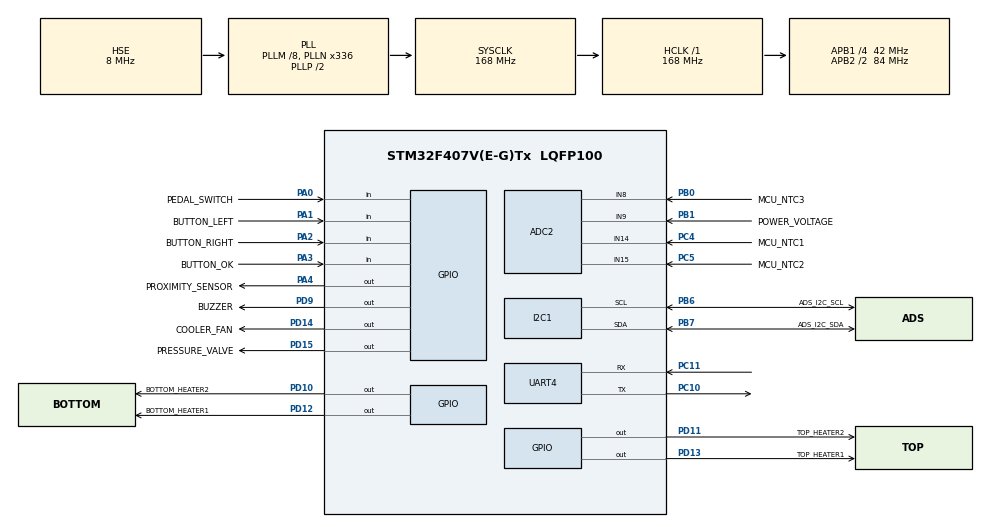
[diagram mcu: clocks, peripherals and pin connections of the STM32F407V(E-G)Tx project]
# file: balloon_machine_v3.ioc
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ADC2.Channel-0\#ChannelRegularConversion=ADC_CHANNEL_14
ADC2.NbrOfConversionFlag=1
ADC2.Rank-0\#ChannelRegularConversion=1
ADC2.SamplingTime-0\#ChannelRegularConversion=ADC_SAMPLETIME_3CYCLES
FREERTOS.BinarySemaphores01=uartSemaphore,Dynamic,NULL,Available
FREERTOS.Mutexes01=configMutex,Dynamic,NULL,Available;stateMutex,Dynamic,NULL,Available
FREERTOS.Tasks01=defaultTask,32,1024,StartDefaultTask,Default,NULL,Dynamic,NULL,NULL;logTask,24,1024,StartLog,As external,NULL,Dynamic,NULL,NULL;sensorTask,26,1024,StartSensor,As external,NULL,Dynamic,NULL,NULL;heaterTask,25,512,StartHeater,As external,NULL,Dynamic,NULL,NULL
FREERTOS.configUSE_NEWLIB_REENTRANT=1
Mcu.Family=STM32F4
Mcu.Name=STM32F407V(E-G)Tx
Mcu.Package=LQFP100
NVIC.PriorityGroup=NVIC_PRIORITYGROUP_4
NVIC.RCC_IRQn=true\:5\:0\:false\:false\:true\:true\:true\:false\:true
NVIC.TIM1_UP_TIM10_IRQn=true\:15\:0\:false\:false\:true\:false\:false\:true\:true
NVIC.TimeBase=TIM1_UP_TIM10_IRQn
NVIC.TimeBaseIP=TIM1
NVIC.UART4_IRQn=true\:5\:0\:false\:false\:true\:true\:true\:true\:true
PA0-WKUP.GPIO_Label=PEDAL_SWITCH
PA0-WKUP.Signal=GPIO_Input
PA1.GPIO_Label=BUTTON_LEFT
PA1.Signal=GPIO_Input
PA13.Mode=Trace_Asynchronous_SW
PA13.Signal=SYS_JTMS-SWDIO
PA14.Mode=Trace_Asynchronous_SW
PA14.Signal=SYS_JTCK-SWCLK
PA2.GPIO_Label=BUTTON_RIGHT
PA2.Signal=GPIO_Input
PA3.GPIO_Label=BUTTON_OK
PA3.Signal=GPIO_Input
PA4.GPIO_Label=PROXIMITY_SENSOR
PA4.GPIO_ModeDefaultOutputPP=GPIO_MODE_OUTPUT_PP
PA4.GPIO_PuPd=GPIO_PULLDOWN
PA4.Signal=GPIO_Output
PB0.GPIO_Label=MCU_NTC3
PB0.Signal=ADCx_IN8
PB1.GPIO_Label=POWER_VOLTAGE
PB1.Signal=ADCx_IN9
PB3.Mode=Trace_Asynchronous_SW
PB3.Signal=SYS_JTDO-SWO
PB6.GPIO_Label=ADS_I2C_SCL
PB6.Mode=I2C
PB6.Signal=I2C1_SCL
PB7.GPIO_Label=ADS_I2C_SDA
PB7.Mode=I2C
PB7.Signal=I2C1_SDA
PC10.Mode=Asynchronous
PC10.Signal=UART4_TX
PC11.Mode=Asynchronous
PC11.Signal=UART4_RX
PC4.GPIO_Label=MCU_NTC1
PC4.Signal=ADCx_IN14
PC5.GPIO_Label=MCU_NTC2
PC5.Signal=ADCx_IN15
PD10.GPIO_Label=BOTTOM_HEATER2
PD10.Signal=GPIO_Output
PD11.GPIO_Label=TOP_HEATER2
PD11.Signal=GPIO_Output
PD12.GPIO_Label=BOTTOM_HEATER1
PD12.Signal=GPIO_Output
PD13.GPIO_Label=TOP_HEATER1
PD13.Signal=GPIO_Output
PD14.GPIO_Label=COOLER_FAN
PD14.Signal=GPIO_Output
PD15.GPIO_Label=PRESSURE_VALVE
PD15.Signal=GPIO_Output
PD9.GPIO_Label=BUZZER
PD9.Signal=GPIO_Output
PH0-OSC_IN.Mode=HSE-External-Oscillator
PH0-OSC_IN.Signal=RCC_OSC_IN
PH1-OSC_OUT.Mode=HSE-External-Oscillator
PH1-OSC_OUT.Signal=RCC_OSC_OUT
ProjectManager.HeapSize=0x200
ProjectManager.StackSize=0x400
ProjectManager.TargetToolchain=STM32CubeIDE
RCC.48MHZClocksFreq_Value=48000000
RCC.AHBFreq_Value=168000000
RCC.APB1CLKDivider=RCC_HCLK_DIV4
RCC.APB1Freq_Value=42000000
RCC.APB1TimFreq_Value=84000000
RCC.APB2CLKDivider=RCC_HCLK_DIV2
RCC.APB2Freq_Value=84000000
RCC.APB2TimFreq_Value=168000000
RCC.CortexFreq_Value=168000000
RCC.EnbaleCSS=true
RCC.HCLKFreq_Value=168000000
RCC.HSE_VALUE=8000000
RCC.HSI_VALUE=16000000
RCC.LSE_VALUE=32768
RCC.PLLM=8
RCC.PLLN=336
RCC.PLLQ=7
RCC.PLLSourceVirtual=RCC_PLLSOURCE_HSE
RCC.SYSCLKFreq_VALUE=168000000
RCC.SYSCLKSource=RCC_SYSCLKSOURCE_PLLCLK
RCC.VCOOutputFreq_Value=336000000
SH.ADCx_IN14.0=ADC2_IN14,IN14
SH.ADCx_IN15.0=ADC2_IN15,IN15
SH.ADCx_IN8.0=ADC2_IN8,IN8
SH.ADCx_IN9.0=ADC2_IN9,IN9
UART4.VirtualMode=Asynchronous
VP_FREERTOS_VS_CMSIS_V2.Mode=CMSIS_V2
VP_SYS_VS_tim1.Mode=TIM1
board=custom

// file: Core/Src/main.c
/* USER CODE BEGIN Header */
/**
  ******************************************************************************
  * @file           : main.c
  * @brief          : Main program body
  ******************************************************************************
  * @attention
  *
  * Copyright (c) 2025 STMicroelectronics.
  * All rights reserved.
  *
  * This software is licensed under terms that can be found in the LICENSE file
  * in the root directory of this software component.
  * If no LICENSE file comes with this software, it is provided AS-IS.
  *
  ******************************************************************************
  */
/* USER CODE END Header */
#include "main.h"
#include "cmsis_os.h"

/* USER CODE BEGIN Includes */
#include "system.h"
#include "utils.h"
#include "partition.h"
/* USER CODE END Includes */

/* USER CODE BEGIN PM */
// uint16_t VarDataTab[NB_OF_VAR] = {0, 0, 0};
// uint16_t VarValue,VarDataTmp = 0;
/* USER CODE END PM */

ADC_HandleTypeDef hadc2;

I2C_HandleTypeDef hi2c1;

UART_HandleTypeDef huart4;

/* Definitions for defaultTask */
osThreadId_t defaultTaskHandle;
const osThreadAttr_t defaultTask_attributes = {
  .name = "defaultTask",
  .stack_size = 1024 * 4,
  .priority = (osPriority_t) osPriorityAboveNormal,
};
/* Definitions for logTask */
osThreadId_t logTaskHandle;
const osThreadAttr_t logTask_attributes = {
  .name = "logTask",
  .stack_size = 1024 * 4,
  .priority = (osPriority_t) osPriorityNormal,
};
/* Definitions for sensorTask */
osThreadId_t sensorTaskHandle;
const osThreadAttr_t sensorTask_attributes = {
  .name = "sensorTask",
  .stack_size = 1024 * 4,
  .priority = (osPriority_t) osPriorityNormal2,
};
/* Definitions for heaterTask */
osThreadId_t heaterTaskHandle;
const osThreadAttr_t heaterTask_attributes = {
  .name = "heaterTask",
  .stack_size = 512 * 4,
  .priority = (osPriority_t) osPriorityNormal1,
};
/* Definitions for configMutex */
osMutexId_t configMutexHandle;
const osMutexAttr_t configMutex_attributes = {
  .name = "configMutex"
};
/* Definitions for stateMutex */
osMutexId_t stateMutexHandle;
const osMutexAttr_t stateMutex_attributes = {
  .name = "stateMutex"
};
/* Definitions for uartSemaphore */
osSemaphoreId_t uartSemaphoreHandle;
const osSemaphoreAttr_t uartSemaphore_attributes = {
  .name = "uartSemaphore"
};

void SystemClock_Config(void);
static void MX_GPIO_Init(void);
static void MX_ADC2_Init(void);
static void MX_I2C1_Init(void);
static void MX_UART4_Init(void);
void StartDefaultTask(void *argument);
extern void StartLog(void *argument);
extern void StartSensor(void *argument);
extern void StartHeater(void *argument);

int main(void)
{

  /* MCU Configuration--------------------------------------------------------*/

  /* Reset of all peripherals, Initializes the Flash interface and the Systick. */
  HAL_Init();

  /* USER CODE BEGIN Init */

  // Initialize partition system early
  Partition_Init();

  // Check if we should boot to a different partition
  // This is useful when running from bootloader region initially
  // Note: Boot_CheckAndJumpToPartition() won't return if it jumps to another partition
  extern uint8_t Boot_CheckAndJumpToPartition(void);
  Boot_CheckAndJumpToPartition();

  /* USER CODE END Init */

  /* Configure the system clock */
  SystemClock_Config();

  /* Initialize all configured peripherals */
  MX_GPIO_Init();
  MX_ADC2_Init();
  MX_I2C1_Init();
  MX_UART4_Init();

  /* Init scheduler */
  osKernelInitialize();
  /* Create the mutex(es) */
  /* creation of configMutex */
  configMutexHandle = osMutexNew(&configMutex_attributes);

  /* creation of stateMutex */
  stateMutexHandle = osMutexNew(&stateMutex_attributes);

  /* Create the semaphores(s) */
  /* creation of uartSemaphore */
  uartSemaphoreHandle = osSemaphoreNew(1, 1, &uartSemaphore_attributes);

  /* Create the thread(s) */
  /* creation of defaultTask */
  defaultTaskHandle = osThreadNew(StartDefaultTask, NULL, &defaultTask_attributes);

  /* creation of logTask */
  logTaskHandle = osThreadNew(StartLog, NULL, &logTask_attributes);

  /* creation of sensorTask */
  sensorTaskHandle = osThreadNew(StartSensor, NULL, &sensorTask_attributes);

  /* creation of heaterTask */
  heaterTaskHandle = osThreadNew(StartHeater, NULL, &heaterTask_attributes);

  /* Start scheduler */
  osKernelStart();

  /* We should never get here as control is now taken by the scheduler */

  /* Infinite loop */
  while (1)
  {

  }
}

void SystemClock_Config(void)
{
  RCC_OscInitTypeDef RCC_OscInitStruct = {0};
  RCC_ClkInitTypeDef RCC_ClkInitStruct = {0};

  /** Configure the main internal regulator output voltage
  */
  __HAL_RCC_PWR_CLK_ENABLE();
  __HAL_PWR_VOLTAGESCALING_CONFIG(PWR_REGULATOR_VOLTAGE_SCALE1);

  /** Initializes the RCC Oscillators according to the specified parameters
  * in the RCC_OscInitTypeDef structure.
  */
  RCC_OscInitStruct.OscillatorType = RCC_OSCILLATORTYPE_HSE;
  RCC_OscInitStruct.HSEState = RCC_HSE_ON;
  RCC_OscInitStruct.PLL.PLLState = RCC_PLL_ON;
  RCC_OscInitStruct.PLL.PLLSource = RCC_PLLSOURCE_HSE;
  RCC_OscInitStruct.PLL.PLLM = 8;
  RCC_OscInitStruct.PLL.PLLN = 336;
  RCC_OscInitStruct.PLL.PLLP = RCC_PLLP_DIV2;
  RCC_OscInitStruct.PLL.PLLQ = 7;
  if (HAL_RCC_OscConfig(&RCC_OscInitStruct) != HAL_OK)
  {
    Error_Handler();
  }

  /** Initializes the CPU, AHB and APB buses clocks
  */
  RCC_ClkInitStruct.ClockType = RCC_CLOCKTYPE_HCLK|RCC_CLOCKTYPE_SYSCLK
                              |RCC_CLOCKTYPE_PCLK1|RCC_CLOCKTYPE_PCLK2;
  RCC_ClkInitStruct.SYSCLKSource = RCC_SYSCLKSOURCE_PLLCLK;
  RCC_ClkInitStruct.AHBCLKDivider = RCC_SYSCLK_DIV1;
  RCC_ClkInitStruct.APB1CLKDivider = RCC_HCLK_DIV4;
  RCC_ClkInitStruct.APB2CLKDivider = RCC_HCLK_DIV2;

  if (HAL_RCC_ClockConfig(&RCC_ClkInitStruct, FLASH_LATENCY_5) != HAL_OK)
  {
    Error_Handler();
  }

  /** Enables the Clock Security System
  */
  HAL_RCC_EnableCSS();
}

static void MX_ADC2_Init(void)
{

  ADC_ChannelConfTypeDef sConfig = {0};

  /** Configure the global features of the ADC (Clock, Resolution, Data Alignment and number of conversion)
  */
  hadc2.Instance = ADC2;
  hadc2.Init.ClockPrescaler = ADC_CLOCK_SYNC_PCLK_DIV4;
  hadc2.Init.Resolution = ADC_RESOLUTION_12B;
  hadc2.Init.ScanConvMode = DISABLE;
  hadc2.Init.ContinuousConvMode = DISABLE;
  hadc2.Init.DiscontinuousConvMode = DISABLE;
  hadc2.Init.ExternalTrigConvEdge = ADC_EXTERNALTRIGCONVEDGE_NONE;
  hadc2.Init.ExternalTrigConv = ADC_SOFTWARE_START;
  hadc2.Init.DataAlign = ADC_DATAALIGN_RIGHT;
  hadc2.Init.NbrOfConversion = 1;
  hadc2.Init.DMAContinuousRequests = DISABLE;
  hadc2.Init.EOCSelection = ADC_EOC_SINGLE_CONV;
  if (HAL_ADC_Init(&hadc2) != HAL_OK)
  {
    Error_Handler();
  }

  /** Configure for the selected ADC regular channel its corresponding rank in the sequencer and its sample time.
  */
  sConfig.Channel = ADC_CHANNEL_14;
  sConfig.Rank = 1;
  sConfig.SamplingTime = ADC_SAMPLETIME_3CYCLES;
  if (HAL_ADC_ConfigChannel(&hadc2, &sConfig) != HAL_OK)
  {
    Error_Handler();
  }

}

static void MX_I2C1_Init(void)
{

  hi2c1.Instance = I2C1;
  hi2c1.Init.ClockSpeed = 100000;
  hi2c1.Init.DutyCycle = I2C_DUTYCYCLE_2;
  hi2c1.Init.OwnAddress1 = 0;
  hi2c1.Init.AddressingMode = I2C_ADDRESSINGMODE_7BIT;
  hi2c1.Init.DualAddressMode = I2C_DUALADDRESS_DISABLE;
  hi2c1.Init.OwnAddress2 = 0;
  hi2c1.Init.GeneralCallMode = I2C_GENERALCALL_DISABLE;
  hi2c1.Init.NoStretchMode = I2C_NOSTRETCH_DISABLE;
  if (HAL_I2C_Init(&hi2c1) != HAL_OK)
  {
    Error_Handler();
  }

}

static void MX_UART4_Init(void)
{

  huart4.Instance = UART4;
  huart4.Init.BaudRate = 115200;
  huart4.Init.WordLength = UART_WORDLENGTH_8B;
  huart4.Init.StopBits = UART_STOPBITS_1;
  huart4.Init.Parity = UART_PARITY_NONE;
  huart4.Init.Mode = UART_MODE_TX_RX;
  huart4.Init.HwFlowCtl = UART_HWCONTROL_NONE;
  huart4.Init.OverSampling = UART_OVERSAMPLING_16;
  if (HAL_UART_Init(&huart4) != HAL_OK)
  {
    Error_Handler();
  }

}

static void MX_GPIO_Init(void)
{
  GPIO_InitTypeDef GPIO_InitStruct = {0};

  /* GPIO Ports Clock Enable */
  __HAL_RCC_GPIOH_CLK_ENABLE();
  __HAL_RCC_GPIOA_CLK_ENABLE();
  __HAL_RCC_GPIOC_CLK_ENABLE();
  __HAL_RCC_GPIOB_CLK_ENABLE();
  __HAL_RCC_GPIOD_CLK_ENABLE();

  /*Configure GPIO pin Output Level */
  HAL_GPIO_WritePin(PROXIMITY_SENSOR_GPIO_Port, PROXIMITY_SENSOR_Pin, GPIO_PIN_RESET);

  /*Configure GPIO pin Output Level */
  HAL_GPIO_WritePin(GPIOD, BUZZER_Pin|BOTTOM_HEATER2_Pin|TOP_HEATER2_Pin|BOTTOM_HEATER1_Pin
                          |TOP_HEATER1_Pin|COOLER_FAN_Pin|PRESSURE_VALVE_Pin, GPIO_PIN_RESET);

  /*Configure GPIO pins : PEDAL_SWITCH_Pin BUTTON_LEFT_Pin BUTTON_RIGHT_Pin BUTTON_OK_Pin */
  GPIO_InitStruct.Pin = PEDAL_SWITCH_Pin|BUTTON_LEFT_Pin|BUTTON_RIGHT_Pin|BUTTON_OK_Pin;
  GPIO_InitStruct.Mode = GPIO_MODE_INPUT;
  GPIO_InitStruct.Pull = GPIO_NOPULL;
  HAL_GPIO_Init(GPIOA, &GPIO_InitStruct);

  /*Configure GPIO pin : PROXIMITY_SENSOR_Pin */
  GPIO_InitStruct.Pin = PROXIMITY_SENSOR_Pin;
  GPIO_InitStruct.Mode = GPIO_MODE_OUTPUT_PP;
  GPIO_InitStruct.Pull = GPIO_PULLDOWN;
  GPIO_InitStruct.Speed = GPIO_SPEED_FREQ_LOW;
  HAL_GPIO_Init(PROXIMITY_SENSOR_GPIO_Port, &GPIO_InitStruct);

  /*Configure GPIO pins : BUZZER_Pin BOTTOM_HEATER2_Pin TOP_HEATER2_Pin BOTTOM_HEATER1_Pin
                           TOP_HEATER1_Pin COOLER_FAN_Pin PRESSURE_VALVE_Pin */
  GPIO_InitStruct.Pin = BUZZER_Pin|BOTTOM_HEATER2_Pin|TOP_HEATER2_Pin|BOTTOM_HEATER1_Pin
                          |TOP_HEATER1_Pin|COOLER_FAN_Pin|PRESSURE_VALVE_Pin;
  GPIO_InitStruct.Mode = GPIO_MODE_OUTPUT_PP;
  GPIO_InitStruct.Pull = GPIO_NOPULL;
  GPIO_InitStruct.Speed = GPIO_SPEED_FREQ_LOW;
  HAL_GPIO_Init(GPIOD, &GPIO_InitStruct);

}

void StartDefaultTask(void *argument)
{
  /* USER CODE BEGIN 5 */
  BalloonSystemInit();
  /* Infinite loop */
  for(;;)
  {
    osDelay(1);
  }
  /* USER CODE END 5 */
}

void HAL_TIM_PeriodElapsedCallback(TIM_HandleTypeDef *htim)
{
  if (htim->Instance == TIM1)
  {
    HAL_IncTick();
  }
}

void Error_Handler(void)
{
  __disable_irq();
  while (1)
  {
  }
}

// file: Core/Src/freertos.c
/* USER CODE BEGIN Header */
/**
 ******************************************************************************
 * File Name          : freertos.c
 * Description        : Code for freertos applications
 ******************************************************************************
 * @attention
 *
 * Copyright (c) 2025 STMicroelectronics.
 * All rights reserved.
 *
 * This software is licensed under terms that can be found in the LICENSE file
 * in the root directory of this software component.
 * If no LICENSE file comes with this software, it is provided AS-IS.
 *
 ******************************************************************************
 */
/* USER CODE END Header */

#include "FreeRTOS.h"
#include "task.h"
#include "main.h"

/* USER CODE BEGIN Includes */
#include "cmsis_os.h"
#include "flash.h"
#include "utils.h"
/* USER CODE END Includes */

/* USER CODE BEGIN PTD */
extern BalloonConfig_t balloonConfig;
extern BalloonState_t balloonState;
void StartLog(void *argument);
void StartSensor(void *argument);
void StartHeater(void *argument);

/* USER CODE END PTD */

/* USER CODE BEGIN Application */

// This is the UART thread (cooperative thread), it doesn't do alot but can
// preempt all other thread(heaters and sensors) when in session
// it is blocking. so make sure nothing blocking is within this thread. and
// operation last less than 500ms.
void StartLog(void *argument) {
  usb_printf("AYMED MEDIKAL TEKNOLOJI\r\n"
             "CATHETHER BALLOON SYSTEM\r\n"
             "developed by AMAR JAY (intern 2025)\r\n"
             "supervised by Ahmed W. Harb\r\n");
  usb_printf("please wait... booting system.\r\n");
  for (;;) {
    LogCallbackHandler();

    osDelay(1); //
  }
}

// this thread is preemptive by the StartLog thread but not by the heaters.
// since sensor reading are rather crucial to the understanding of the system.

void StartSensor(void *argument) {
  for (;;) {
    MonitorSensors();
    BuzzerUpdate();
    osDelay(10);
  }
}

void StartHeater(
    void *argument) { // The StartHeater thread is preemptible by the StartLog
  for (;;) {
    ControlHeater();
    osDelay(100);
    MonitorError();
    osDelay(100);
//    ManageOperation();
  }
}

/* USER CODE END Application */
